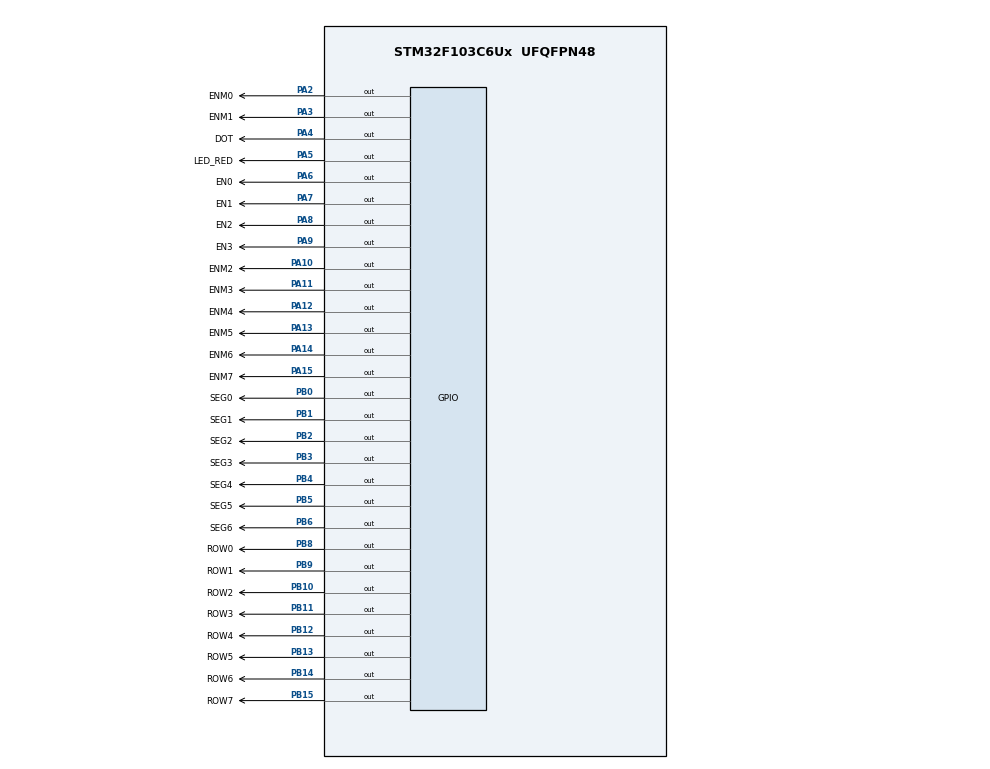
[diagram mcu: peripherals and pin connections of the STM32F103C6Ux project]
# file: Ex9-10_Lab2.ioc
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Mcu.Family=STM32F1
Mcu.Name=STM32F103C6Ux
Mcu.Package=UFQFPN48
NVIC.PriorityGroup=NVIC_PRIORITYGROUP_4
NVIC.TIM2_IRQn=true\:0\:0\:false\:false\:true\:true\:true
PA10.GPIO_Label=ENM2
PA10.Signal=GPIO_Output
PA11.GPIO_Label=ENM3
PA11.Signal=GPIO_Output
PA12.GPIO_Label=ENM4
PA12.Signal=GPIO_Output
PA13.GPIO_Label=ENM5
PA13.Signal=GPIO_Output
PA14.GPIO_Label=ENM6
PA14.Signal=GPIO_Output
PA15.GPIO_Label=ENM7
PA15.Signal=GPIO_Output
PA2.GPIO_Label=ENM0
PA2.Signal=GPIO_Output
PA3.GPIO_Label=ENM1
PA3.Signal=GPIO_Output
PA4.GPIO_Label=DOT
PA4.Signal=GPIO_Output
PA5.GPIO_Label=LED_RED
PA5.Signal=GPIO_Output
PA6.GPIO_Label=EN0
PA6.Signal=GPIO_Output
PA7.GPIO_Label=EN1
PA7.Signal=GPIO_Output
PA8.GPIO_Label=EN2
PA8.Signal=GPIO_Output
PA9.GPIO_Label=EN3
PA9.Signal=GPIO_Output
PB0.GPIO_Label=SEG0
PB0.Signal=GPIO_Output
PB1.GPIO_Label=SEG1
PB1.Signal=GPIO_Output
PB10.GPIO_Label=ROW2
PB10.Signal=GPIO_Output
PB11.GPIO_Label=ROW3
PB11.Signal=GPIO_Output
PB12.GPIO_Label=ROW4
PB12.Signal=GPIO_Output
PB13.GPIO_Label=ROW5
PB13.Signal=GPIO_Output
PB14.GPIO_Label=ROW6
PB14.Signal=GPIO_Output
PB15.GPIO_Label=ROW7
PB15.Signal=GPIO_Output
PB2.GPIO_Label=SEG2
PB2.Signal=GPIO_Output
PB3.GPIO_Label=SEG3
PB3.Signal=GPIO_Output
PB4.GPIO_Label=SEG4
PB4.Signal=GPIO_Output
PB5.GPIO_Label=SEG5
PB5.Signal=GPIO_Output
PB6.GPIO_Label=SEG6
PB6.Signal=GPIO_Output
PB8.GPIO_Label=ROW0
PB8.Signal=GPIO_Output
PB9.GPIO_Label=ROW1
PB9.Signal=GPIO_Output
ProjectManager.HeapSize=0x200
ProjectManager.StackSize=0x400
ProjectManager.TargetToolchain=STM32CubeIDE
RCC.APB1Freq_Value=8000000
RCC.APB2Freq_Value=8000000
TIM2.Period=9
TIM2.Prescaler=7999
VP_SYS_VS_ND.Mode=No_Debug
VP_TIM2_VS_ClockSourceINT.Mode=Internal
board=custom

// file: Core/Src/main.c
/* USER CODE BEGIN Header */
/**
  ******************************************************************************
  * @file           : main.c
  * @brief          : Main program body
  ******************************************************************************
  * @attention
  *
  * <h2><center>&copy; Copyright (c) 2022 STMicroelectronics.
  * All rights reserved.</center></h2>
  *
  * This software component is licensed by ST under BSD 3-Clause license,
  * the "License"; You may not use this file except in compliance with the
  * License. You may obtain a copy of the License at:
  *                        opensource.org/licenses/BSD-3-Clause
  *
  ******************************************************************************
  */
/* USER CODE END Header */
#include "main.h"

/* USER CODE BEGIN Includes */
#include "software_timer.h"
/* USER CODE END Includes */

TIM_HandleTypeDef htim2;

void SystemClock_Config(void);
static void MX_GPIO_Init(void);
static void MX_TIM2_Init(void);

/* USER CODE BEGIN 0 */
void display7SEG(uint16_t Pin1, uint16_t Pin2, uint16_t Pin3, uint16_t Pin4, uint16_t Pin5, uint16_t Pin6, uint16_t Pin7,
				 GPIO_TypeDef* Port1, GPIO_TypeDef* Port2, GPIO_TypeDef* Port3, GPIO_TypeDef* Port4, GPIO_TypeDef* Port5, GPIO_TypeDef* Port6, GPIO_TypeDef* Port7,
				 int num) {
	switch(num) {
	case 0: //Number 0 is 0000001
		HAL_GPIO_WritePin(Port1, Pin1, RESET);
		HAL_GPIO_WritePin(Port2, Pin2, RESET);
		HAL_GPIO_WritePin(Port3, Pin3, RESET);
		HAL_GPIO_WritePin(Port4, Pin4, RESET);
		HAL_GPIO_WritePin(Port5, Pin5, RESET);
		HAL_GPIO_WritePin(Port6, Pin6, RESET);
		HAL_GPIO_WritePin(Port7, Pin7, SET);
		break;

	case 1: //Number 1 is 1001111
		HAL_GPIO_WritePin(Port1, Pin1, SET);
		HAL_GPIO_WritePin(Port2, Pin2, RESET);
		HAL_GPIO_WritePin(Port3, Pin3, RESET);
		HAL_GPIO_WritePin(Port4, Pin4, SET);
		HAL_GPIO_WritePin(Port5, Pin5, SET);
		HAL_GPIO_WritePin(Port6, Pin6, SET);
		HAL_GPIO_WritePin(Port7, Pin7, SET);
		break;

	case 2: //Number 2 is 0010010
		HAL_GPIO_WritePin(Port1, Pin1, RESET);
		HAL_GPIO_WritePin(Port2, Pin2, RESET);
		HAL_GPIO_WritePin(Port3, Pin3, SET);
		HAL_GPIO_WritePin(Port4, Pin4, RESET);
		HAL_GPIO_WritePin(Port5, Pin5, RESET);
		HAL_GPIO_WritePin(Port6, Pin6, SET);
		HAL_GPIO_WritePin(Port7, Pin7, RESET);
		break;

	case 3: //Number 3 is 0000110
		HAL_GPIO_WritePin(Port1, Pin1, RESET);
		HAL_GPIO_WritePin(Port2, Pin2, RESET);
		HAL_GPIO_WritePin(Port3, Pin3, RESET);
		HAL_GPIO_WritePin(Port4, Pin4, RESET);
		HAL_GPIO_WritePin(Port5, Pin5, SET);
		HAL_GPIO_WritePin(Port6, Pin6, SET);
		HAL_GPIO_WritePin(Port7, Pin7, RESET);
		break;

	case 4: //Number 4 is 1001100
		HAL_GPIO_WritePin(Port1, Pin1, SET);
		HAL_GPIO_WritePin(Port2, Pin2, RESET);
		HAL_GPIO_WritePin(Port3, Pin3, RESET);
		HAL_GPIO_WritePin(Port4, Pin4, SET);
		HAL_GPIO_WritePin(Port5, Pin5, SET);
		HAL_GPIO_WritePin(Port6, Pin6, RESET);
		HAL_GPIO_WritePin(Port7, Pin7, RESET);
		break;

	case 5: //Number 5 is 0100100
		HAL_GPIO_WritePin(Port1, Pin1, RESET);
		HAL_GPIO_WritePin(Port2, Pin2, SET);
		HAL_GPIO_WritePin(Port3, Pin3, RESET);
		HAL_GPIO_WritePin(Port4, Pin4, RESET);
		HAL_GPIO_WritePin(Port5, Pin5, SET);
		HAL_GPIO_WritePin(Port6, Pin6, RESET);
		HAL_GPIO_WritePin(Port7, Pin7, RESET);
		break;

	case 6: //Number 6 is 0100000
		HAL_GPIO_WritePin(Port1, Pin1, RESET);
		HAL_GPIO_WritePin(Port2, Pin2, SET);
		HAL_GPIO_WritePin(Port3, Pin3, RESET);
		HAL_GPIO_WritePin(Port4, Pin4, RESET);
		HAL_GPIO_WritePin(Port5, Pin5, RESET);
		HAL_GPIO_WritePin(Port6, Pin6, RESET);
		HAL_GPIO_WritePin(Port7, Pin7, RESET);
		break;

	case 7: //Number 7 is 0001111
		HAL_GPIO_WritePin(Port1, Pin1, RESET);
		HAL_GPIO_WritePin(Port2, Pin2, RESET);
		HAL_GPIO_WritePin(Port3, Pin3, RESET);
		HAL_GPIO_WritePin(Port4, Pin4, SET);
		HAL_GPIO_WritePin(Port5, Pin5, SET);
		HAL_GPIO_WritePin(Port6, Pin6, SET);
		HAL_GPIO_WritePin(Port7, Pin7, SET);
		break;

	case 8: //Number 8 is 0000000
		HAL_GPIO_WritePin(Port1, Pin1, RESET);
		HAL_GPIO_WritePin(Port2, Pin2, RESET);
		HAL_GPIO_WritePin(Port3, Pin3, RESET);
		HAL_GPIO_WritePin(Port4, Pin4, RESET);
		HAL_GPIO_WritePin(Port5, Pin5, RESET);
		HAL_GPIO_WritePin(Port6, Pin6, RESET);
		HAL_GPIO_WritePin(Port7, Pin7, RESET);
		break;

	case 9: //Number 9 is 0000100
		HAL_GPIO_WritePin(Port1, Pin1, RESET);
		HAL_GPIO_WritePin(Port2, Pin2, RESET);
		HAL_GPIO_WritePin(Port3, Pin3, RESET);
		HAL_GPIO_WritePin(Port4, Pin4, RESET);
		HAL_GPIO_WritePin(Port5, Pin5, SET);
		HAL_GPIO_WritePin(Port6, Pin6, RESET);
		HAL_GPIO_WritePin(Port7, Pin7, RESET);
		break;

	default: break;
	}
}

const int MAX_LED = 4;
int index_led = 0;
int led_buffer[4] = {1, 2, 3, 4};

void update7SEG(int index) {
	switch(index) {
	case 0:
		display7SEG(SEG0_Pin, SEG1_Pin, SEG2_Pin, SEG3_Pin, SEG4_Pin, SEG5_Pin, SEG6_Pin,
					SEG0_GPIO_Port, SEG1_GPIO_Port, SEG2_GPIO_Port, SEG3_GPIO_Port, SEG4_GPIO_Port, SEG5_GPIO_Port, SEG6_GPIO_Port,
					led_buffer[index]);

		HAL_GPIO_WritePin(EN0_GPIO_Port, EN0_Pin, RESET);
		HAL_GPIO_WritePin(EN1_GPIO_Port, EN1_Pin, SET);
		HAL_GPIO_WritePin(EN2_GPIO_Port, EN2_Pin, SET);
		HAL_GPIO_WritePin(EN3_GPIO_Port, EN3_Pin, SET);

		break;
	case 1:
		display7SEG(SEG0_Pin, SEG1_Pin, SEG2_Pin, SEG3_Pin, SEG4_Pin, SEG5_Pin, SEG6_Pin,
					SEG0_GPIO_Port, SEG1_GPIO_Port, SEG2_GPIO_Port, SEG3_GPIO_Port, SEG4_GPIO_Port, SEG5_GPIO_Port, SEG6_GPIO_Port,
					led_buffer[index]);

		HAL_GPIO_WritePin(EN0_GPIO_Port, EN0_Pin, SET);
		HAL_GPIO_WritePin(EN1_GPIO_Port, EN1_Pin, RESET);
		HAL_GPIO_WritePin(EN2_GPIO_Port, EN2_Pin, SET);
		HAL_GPIO_WritePin(EN3_GPIO_Port, EN3_Pin, SET);

		break;
	case 2:
		display7SEG(SEG0_Pin, SEG1_Pin, SEG2_Pin, SEG3_Pin, SEG4_Pin, SEG5_Pin, SEG6_Pin,
					SEG0_GPIO_Port, SEG1_GPIO_Port, SEG2_GPIO_Port, SEG3_GPIO_Port, SEG4_GPIO_Port, SEG5_GPIO_Port, SEG6_GPIO_Port,
					led_buffer[index]);

		HAL_GPIO_WritePin(EN0_GPIO_Port, EN0_Pin, SET);
		HAL_GPIO_WritePin(EN1_GPIO_Port, EN1_Pin, SET);
		HAL_GPIO_WritePin(EN2_GPIO_Port, EN2_Pin, RESET);
		HAL_GPIO_WritePin(EN3_GPIO_Port, EN3_Pin, SET);

		break;
	case 3:
		display7SEG(SEG0_Pin, SEG1_Pin, SEG2_Pin, SEG3_Pin, SEG4_Pin, SEG5_Pin, SEG6_Pin,
					SEG0_GPIO_Port, SEG1_GPIO_Port, SEG2_GPIO_Port, SEG3_GPIO_Port, SEG4_GPIO_Port, SEG5_GPIO_Port, SEG6_GPIO_Port,
					led_buffer[index]);

		HAL_GPIO_WritePin(EN0_GPIO_Port, EN0_Pin, SET);
		HAL_GPIO_WritePin(EN1_GPIO_Port, EN1_Pin, SET);
		HAL_GPIO_WritePin(EN2_GPIO_Port, EN2_Pin, SET);
		HAL_GPIO_WritePin(EN3_GPIO_Port, EN3_Pin, RESET);

		break;
	default:
		break;
	}
}

int hour = 15, minute = 8, second = 50;
void updateClockBuffer() {
	led_buffer[0] = hour / 10;
	led_buffer[1] = hour % 10;

	led_buffer[2] = minute / 10;
	led_buffer[3] = minute % 10;
}

const int MAX_LED_MATRIX = 8;
int index_led_matrix = 0;
uint8_t matrix_buffer[8] = {0x01, 0x02, 0x03, 0x04, 0x05, 0x06, 0x07, 0x08};

void displayLEDMatrix(uint8_t value) {
	switch(value) {
	case 0x00:
		HAL_GPIO_WritePin(ROW0_GPIO_Port, ROW0_Pin, SET);
		HAL_GPIO_WritePin(ROW1_GPIO_Port, ROW1_Pin, SET);
		HAL_GPIO_WritePin(ROW2_GPIO_Port, ROW2_Pin, SET);
		HAL_GPIO_WritePin(ROW3_GPIO_Port, ROW3_Pin, SET);
		HAL_GPIO_WritePin(ROW4_GPIO_Port, ROW4_Pin, SET);
		HAL_GPIO_WritePin(ROW5_GPIO_Port, ROW5_Pin, SET);
		HAL_GPIO_WritePin(ROW6_GPIO_Port, ROW6_Pin, SET);
		HAL_GPIO_WritePin(ROW7_GPIO_Port, ROW7_Pin, SET);
		break;
	case 0xc0:
		HAL_GPIO_WritePin(ROW0_GPIO_Port, ROW0_Pin, SET);
		HAL_GPIO_WritePin(ROW1_GPIO_Port, ROW1_Pin, SET);
		HAL_GPIO_WritePin(ROW2_GPIO_Port, ROW2_Pin, RESET);
		HAL_GPIO_WritePin(ROW3_GPIO_Port, ROW3_Pin, RESET);
		HAL_GPIO_WritePin(ROW4_GPIO_Port, ROW4_Pin, RESET);
		HAL_GPIO_WritePin(ROW5_GPIO_Port, ROW5_Pin, RESET);
		HAL_GPIO_WritePin(ROW6_GPIO_Port, ROW6_Pin, RESET);
		HAL_GPIO_WritePin(ROW7_GPIO_Port, ROW7_Pin, RESET);
		break;
	case 0x80:
		HAL_GPIO_WritePin(ROW0_GPIO_Port, ROW0_Pin, SET);
		HAL_GPIO_WritePin(ROW1_GPIO_Port, ROW1_Pin, RESET);
		HAL_GPIO_WritePin(ROW2_GPIO_Port, ROW2_Pin, RESET);
		HAL_GPIO_WritePin(ROW3_GPIO_Port, ROW3_Pin, RESET);
		HAL_GPIO_WritePin(ROW4_GPIO_Port, ROW4_Pin, RESET);
		HAL_GPIO_WritePin(ROW5_GPIO_Port, ROW5_Pin, RESET);
		HAL_GPIO_WritePin(ROW6_GPIO_Port, ROW6_Pin, RESET);
		HAL_GPIO_WritePin(ROW7_GPIO_Port, ROW7_Pin, RESET);
		break;
	case 0x33:
		HAL_GPIO_WritePin(ROW0_GPIO_Port, ROW0_Pin, RESET);
		HAL_GPIO_WritePin(ROW1_GPIO_Port, ROW1_Pin, RESET);
		HAL_GPIO_WritePin(ROW2_GPIO_Port, ROW2_Pin, SET);
		HAL_GPIO_WritePin(ROW3_GPIO_Port, ROW3_Pin, SET);
		HAL_GPIO_WritePin(ROW4_GPIO_Port, ROW4_Pin, RESET);
		HAL_GPIO_WritePin(ROW5_GPIO_Port, ROW5_Pin, RESET);
		HAL_GPIO_WritePin(ROW6_GPIO_Port, ROW6_Pin, SET);
		HAL_GPIO_WritePin(ROW7_GPIO_Port, ROW7_Pin, SET);
		break;
	default:
		HAL_GPIO_WritePin(ROW0_GPIO_Port, ROW0_Pin, SET);
		HAL_GPIO_WritePin(ROW1_GPIO_Port, ROW1_Pin, SET);
		HAL_GPIO_WritePin(ROW2_GPIO_Port, ROW2_Pin, SET);
		HAL_GPIO_WritePin(ROW3_GPIO_Port, ROW3_Pin, SET);
		HAL_GPIO_WritePin(ROW4_GPIO_Port, ROW4_Pin, SET);
		HAL_GPIO_WritePin(ROW5_GPIO_Port, ROW5_Pin, SET);
		HAL_GPIO_WritePin(ROW6_GPIO_Port, ROW6_Pin, SET);
		HAL_GPIO_WritePin(ROW7_GPIO_Port, ROW7_Pin, SET);
		break;
	}
}

void updateLEDMatrix(int index) {
	switch(index) {
		case 0:
			HAL_GPIO_WritePin(ENM0_GPIO_Port, ENM0_Pin, RESET);
			HAL_GPIO_WritePin(ENM1_GPIO_Port, ENM1_Pin, SET);
			HAL_GPIO_WritePin(ENM2_GPIO_Port, ENM2_Pin, SET);
			HAL_GPIO_WritePin(ENM3_GPIO_Port, ENM3_Pin, SET);
			HAL_GPIO_WritePin(ENM4_GPIO_Port, ENM4_Pin, SET);
			HAL_GPIO_WritePin(ENM5_GPIO_Port, ENM5_Pin, SET);
			HAL_GPIO_WritePin(ENM6_GPIO_Port, ENM6_Pin, SET);
			HAL_GPIO_WritePin(ENM7_GPIO_Port, ENM7_Pin, SET);
			break;
		case 1:
			HAL_GPIO_WritePin(ENM0_GPIO_Port, ENM0_Pin, SET);
			HAL_GPIO_WritePin(ENM1_GPIO_Port, ENM1_Pin, RESET);
			HAL_GPIO_WritePin(ENM2_GPIO_Port, ENM2_Pin, SET);
			HAL_GPIO_WritePin(ENM3_GPIO_Port, ENM3_Pin, SET);
			HAL_GPIO_WritePin(ENM4_GPIO_Port, ENM4_Pin, SET);
			HAL_GPIO_WritePin(ENM5_GPIO_Port, ENM5_Pin, SET);
			HAL_GPIO_WritePin(ENM6_GPIO_Port, ENM6_Pin, SET);
			HAL_GPIO_WritePin(ENM7_GPIO_Port, ENM7_Pin, SET);
			break;
		case 2:
			HAL_GPIO_WritePin(ENM0_GPIO_Port, ENM0_Pin, SET);
			HAL_GPIO_WritePin(ENM1_GPIO_Port, ENM1_Pin, SET);
			HAL_GPIO_WritePin(ENM2_GPIO_Port, ENM2_Pin, RESET);
			HAL_GPIO_WritePin(ENM3_GPIO_Port, ENM3_Pin, SET);
			HAL_GPIO_WritePin(ENM4_GPIO_Port, ENM4_Pin, SET);
			HAL_GPIO_WritePin(ENM5_GPIO_Port, ENM5_Pin, SET);
			HAL_GPIO_WritePin(ENM6_GPIO_Port, ENM6_Pin, SET);
			HAL_GPIO_WritePin(ENM7_GPIO_Port, ENM7_Pin, SET);
			break;
		case 3:
			HAL_GPIO_WritePin(ENM0_GPIO_Port, ENM0_Pin, SET);
			HAL_GPIO_WritePin(ENM1_GPIO_Port, ENM1_Pin, SET);
			HAL_GPIO_WritePin(ENM2_GPIO_Port, ENM2_Pin, SET);
			HAL_GPIO_WritePin(ENM3_GPIO_Port, ENM3_Pin, RESET);
			HAL_GPIO_WritePin(ENM4_GPIO_Port, ENM4_Pin, SET);
			HAL_GPIO_WritePin(ENM5_GPIO_Port, ENM5_Pin, SET);
			HAL_GPIO_WritePin(ENM6_GPIO_Port, ENM6_Pin, SET);
			HAL_GPIO_WritePin(ENM7_GPIO_Port, ENM7_Pin, SET);
			break;
		case 4:
			HAL_GPIO_WritePin(ENM0_GPIO_Port, ENM0_Pin, SET);
			HAL_GPIO_WritePin(ENM1_GPIO_Port, ENM1_Pin, SET);
			HAL_GPIO_WritePin(ENM2_GPIO_Port, ENM2_Pin, SET);
			HAL_GPIO_WritePin(ENM3_GPIO_Port, ENM3_Pin, SET);
			HAL_GPIO_WritePin(ENM4_GPIO_Port, ENM4_Pin, RESET);
			HAL_GPIO_WritePin(ENM5_GPIO_Port, ENM5_Pin, SET);
			HAL_GPIO_WritePin(ENM6_GPIO_Port, ENM6_Pin, SET);
			HAL_GPIO_WritePin(ENM7_GPIO_Port, ENM7_Pin, SET);
			break;
		case 5:
			HAL_GPIO_WritePin(ENM0_GPIO_Port, ENM0_Pin, SET);
			HAL_GPIO_WritePin(ENM1_GPIO_Port, ENM1_Pin, SET);
			HAL_GPIO_WritePin(ENM2_GPIO_Port, ENM2_Pin, SET);
			HAL_GPIO_WritePin(ENM3_GPIO_Port, ENM3_Pin, SET);
			HAL_GPIO_WritePin(ENM4_GPIO_Port, ENM4_Pin, SET);
			HAL_GPIO_WritePin(ENM5_GPIO_Port, ENM5_Pin, RESET);
			HAL_GPIO_WritePin(ENM6_GPIO_Port, ENM6_Pin, SET);
			HAL_GPIO_WritePin(ENM7_GPIO_Port, ENM7_Pin, SET);
			break;
		case 6:
			HAL_GPIO_WritePin(ENM0_GPIO_Port, ENM0_Pin, SET);
			HAL_GPIO_WritePin(ENM1_GPIO_Port, ENM1_Pin, SET);
			HAL_GPIO_WritePin(ENM2_GPIO_Port, ENM2_Pin, SET);
			HAL_GPIO_WritePin(ENM3_GPIO_Port, ENM3_Pin, SET);
			HAL_GPIO_WritePin(ENM4_GPIO_Port, ENM4_Pin, SET);
			HAL_GPIO_WritePin(ENM5_GPIO_Port, ENM5_Pin, SET);
			HAL_GPIO_WritePin(ENM6_GPIO_Port, ENM6_Pin, RESET);
			HAL_GPIO_WritePin(ENM7_GPIO_Port, ENM7_Pin, SET);
			break;
		case 7:
			HAL_GPIO_WritePin(ENM0_GPIO_Port, ENM0_Pin, SET);
			HAL_GPIO_WritePin(ENM1_GPIO_Port, ENM1_Pin, SET);
			HAL_GPIO_WritePin(ENM2_GPIO_Port, ENM2_Pin, SET);
			HAL_GPIO_WritePin(ENM3_GPIO_Port, ENM3_Pin, SET);
			HAL_GPIO_WritePin(ENM4_GPIO_Port, ENM4_Pin, SET);
			HAL_GPIO_WritePin(ENM5_GPIO_Port, ENM5_Pin, SET);
			HAL_GPIO_WritePin(ENM6_GPIO_Port, ENM6_Pin, SET);
			HAL_GPIO_WritePin(ENM7_GPIO_Port, ENM7_Pin, RESET);
			break;
		default:
			HAL_GPIO_WritePin(ENM0_GPIO_Port, ENM0_Pin, SET);
			HAL_GPIO_WritePin(ENM1_GPIO_Port, ENM1_Pin, SET);
			HAL_GPIO_WritePin(ENM2_GPIO_Port, ENM2_Pin, SET);
			HAL_GPIO_WritePin(ENM3_GPIO_Port, ENM3_Pin, SET);
			HAL_GPIO_WritePin(ENM4_GPIO_Port, ENM4_Pin, SET);
			HAL_GPIO_WritePin(ENM5_GPIO_Port, ENM5_Pin, SET);
			HAL_GPIO_WritePin(ENM6_GPIO_Port, ENM6_Pin, SET);
			HAL_GPIO_WritePin(ENM7_GPIO_Port, ENM7_Pin, SET);
			break;
	}
	displayLEDMatrix(matrix_buffer[index]);
}

void shiftLeft() {
	uint8_t first = matrix_buffer[0];
	for (int i = 0; i < 7; ++i) {
		matrix_buffer[i] = matrix_buffer[i+1];
	}
	matrix_buffer[7] = first;
}
/* USER CODE END 0 */

int main(void)
{

  /* MCU Configuration--------------------------------------------------------*/

  /* Reset of all peripherals, Initializes the Flash interface and the Systick. */
  HAL_Init();

  /* Configure the system clock */
  SystemClock_Config();

  /* Initialize all configured peripherals */
  MX_GPIO_Init();
  MX_TIM2_Init();
  /* USER CODE BEGIN 2 */
  HAL_TIM_Base_Start_IT(&htim2);
  /* USER CODE END 2 */

  /* Infinite loop */
  /* USER CODE BEGIN WHILE */

  /*
  * timer0_flag and setTimer0 is using to set timer for LED RED, switch every second
  * timer1_flag and setTimer1 is using to set timer for LED 7SEG, switch every 250ms
  * timer2_flag and setTimer2 is using to set timer for the colon, display every 500ms
  */

  //setTimer for first time timer_flag change to 1
  setTimer0(100); //timer for LED-RED, turn on every second
  setTimer1(100); //timer for 4 LED 7SEG, switch every 250ms
  setTimer2(100); //timer for colon, display every 500ms
  setTimer3(100);
  setTimer4(100);

  /*
   * A:
   * 0 0 0 1 1 0 0 0
   * 0 0 1 1 1 1 0 0
   * 0 1 1 0 0 1 1 0
   * 0 1 1 0 0 1 1 0
   * 0 1 1 1 1 1 1 0
   * 0 1 1 1 1 1 1 0
   * 0 1 1 0 0 1 1 0
   * 0 1 1 0 0 1 1 0
   */

  matrix_buffer[0] = 0x00;
  matrix_buffer[1] = 0xc0;
  matrix_buffer[2] = 0x80;
  matrix_buffer[3] = 0x33;
  matrix_buffer[4] = 0x33;
  matrix_buffer[5] = 0x80;
  matrix_buffer[6] = 0xc0;
  matrix_buffer[7] = 0x00;

  while (1)
  {
    /* USER CODE END WHILE */
	  if ( timer0_flag == 1) {
		  HAL_GPIO_TogglePin ( LED_RED_GPIO_Port, LED_RED_Pin ) ;
		  setTimer0 (1000) ;
		  second++;
		  if (second >= 60) {
			  second = 0;
			  minute++;
		  }

		  if (minute >= 60) {
			  minute = 0;
			  hour++;
		  }

		  if (hour >= 24) {
			  hour = 0;
		  }
		  updateClockBuffer();
	  }

	  if ( timer1_flag == 1) {
		  update7SEG(index_led++);
		  if (index_led >= 4) index_led = 0;
		  setTimer1(250);
	  }

	  if ( timer2_flag == 1) {
		  HAL_GPIO_TogglePin ( DOT_GPIO_Port, DOT_Pin ) ;
		  setTimer2 (500) ;
	  }

	  if ( timer3_flag == 1) {
		  updateLEDMatrix(index_led_matrix++);
		  if (index_led_matrix >= 8) index_led_matrix = 0;
		  setTimer3(50);
	  }

	  if ( timer4_flag == 1) {
		  shiftLeft();
		  setTimer4(8*50);
	  }

  }
}

void SystemClock_Config(void)
{
  RCC_OscInitTypeDef RCC_OscInitStruct = {0};
  RCC_ClkInitTypeDef RCC_ClkInitStruct = {0};

  /** Initializes the RCC Oscillators according to the specified parameters
  * in the RCC_OscInitTypeDef structure.
  */
  RCC_OscInitStruct.OscillatorType = RCC_OSCILLATORTYPE_HSI;
  RCC_OscInitStruct.HSIState = RCC_HSI_ON;
  RCC_OscInitStruct.HSICalibrationValue = RCC_HSICALIBRATION_DEFAULT;
  RCC_OscInitStruct.PLL.PLLState = RCC_PLL_NONE;
  if (HAL_RCC_OscConfig(&RCC_OscInitStruct) != HAL_OK)
  {
    Error_Handler();
  }
  /** Initializes the CPU, AHB and APB buses clocks
  */
  RCC_ClkInitStruct.ClockType = RCC_CLOCKTYPE_HCLK|RCC_CLOCKTYPE_SYSCLK
                              |RCC_CLOCKTYPE_PCLK1|RCC_CLOCKTYPE_PCLK2;
  RCC_ClkInitStruct.SYSCLKSource = RCC_SYSCLKSOURCE_HSI;
  RCC_ClkInitStruct.AHBCLKDivider = RCC_SYSCLK_DIV1;
  RCC_ClkInitStruct.APB1CLKDivider = RCC_HCLK_DIV1;
  RCC_ClkInitStruct.APB2CLKDivider = RCC_HCLK_DIV1;

  if (HAL_RCC_ClockConfig(&RCC_ClkInitStruct, FLASH_LATENCY_0) != HAL_OK)
  {
    Error_Handler();
  }
}

static void MX_TIM2_Init(void)
{

  TIM_ClockConfigTypeDef sClockSourceConfig = {0};
  TIM_MasterConfigTypeDef sMasterConfig = {0};

  htim2.Instance = TIM2;
  htim2.Init.Prescaler = 7999;
  htim2.Init.CounterMode = TIM_COUNTERMODE_UP;
  htim2.Init.Period = 9;
  htim2.Init.ClockDivision = TIM_CLOCKDIVISION_DIV1;
  htim2.Init.AutoReloadPreload = TIM_AUTORELOAD_PRELOAD_DISABLE;
  if (HAL_TIM_Base_Init(&htim2) != HAL_OK)
  {
    Error_Handler();
  }
  sClockSourceConfig.ClockSource = TIM_CLOCKSOURCE_INTERNAL;
  if (HAL_TIM_ConfigClockSource(&htim2, &sClockSourceConfig) != HAL_OK)
  {
    Error_Handler();
  }
  sMasterConfig.MasterOutputTrigger = TIM_TRGO_RESET;
  sMasterConfig.MasterSlaveMode = TIM_MASTERSLAVEMODE_DISABLE;
  if (HAL_TIMEx_MasterConfigSynchronization(&htim2, &sMasterConfig) != HAL_OK)
  {
    Error_Handler();
  }

}

static void MX_GPIO_Init(void)
{
  GPIO_InitTypeDef GPIO_InitStruct = {0};

  /* GPIO Ports Clock Enable */
  __HAL_RCC_GPIOA_CLK_ENABLE();
  __HAL_RCC_GPIOB_CLK_ENABLE();

  /*Configure GPIO pin Output Level */
  HAL_GPIO_WritePin(GPIOA, ENM0_Pin|ENM1_Pin|DOT_Pin|LED_RED_Pin
                          |EN0_Pin|EN1_Pin|EN2_Pin|EN3_Pin
                          |ENM2_Pin|ENM3_Pin|ENM4_Pin|ENM5_Pin
                          |ENM6_Pin|ENM7_Pin, GPIO_PIN_RESET);

  /*Configure GPIO pin Output Level */
  HAL_GPIO_WritePin(GPIOB, SEG0_Pin|SEG1_Pin|SEG2_Pin|ROW2_Pin
                          |ROW3_Pin|ROW4_Pin|ROW5_Pin|ROW6_Pin
                          |ROW7_Pin|SEG3_Pin|SEG4_Pin|SEG5_Pin
                          |SEG6_Pin|ROW0_Pin|ROW1_Pin, GPIO_PIN_RESET);

  /*Configure GPIO pins : ENM0_Pin ENM1_Pin DOT_Pin LED_RED_Pin
                           EN0_Pin EN1_Pin EN2_Pin EN3_Pin
                           ENM2_Pin ENM3_Pin ENM4_Pin ENM5_Pin
                           ENM6_Pin ENM7_Pin */
  GPIO_InitStruct.Pin = ENM0_Pin|ENM1_Pin|DOT_Pin|LED_RED_Pin
                          |EN0_Pin|EN1_Pin|EN2_Pin|EN3_Pin
                          |ENM2_Pin|ENM3_Pin|ENM4_Pin|ENM5_Pin
                          |ENM6_Pin|ENM7_Pin;
  GPIO_InitStruct.Mode = GPIO_MODE_OUTPUT_PP;
  GPIO_InitStruct.Pull = GPIO_NOPULL;
  GPIO_InitStruct.Speed = GPIO_SPEED_FREQ_LOW;
  HAL_GPIO_Init(GPIOA, &GPIO_InitStruct);

  /*Configure GPIO pins : SEG0_Pin SEG1_Pin SEG2_Pin ROW2_Pin
                           ROW3_Pin ROW4_Pin ROW5_Pin ROW6_Pin
                           ROW7_Pin SEG3_Pin SEG4_Pin SEG5_Pin
                           SEG6_Pin ROW0_Pin ROW1_Pin */
  GPIO_InitStruct.Pin = SEG0_Pin|SEG1_Pin|SEG2_Pin|ROW2_Pin
                          |ROW3_Pin|ROW4_Pin|ROW5_Pin|ROW6_Pin
                          |ROW7_Pin|SEG3_Pin|SEG4_Pin|SEG5_Pin
                          |SEG6_Pin|ROW0_Pin|ROW1_Pin;
  GPIO_InitStruct.Mode = GPIO_MODE_OUTPUT_PP;
  GPIO_InitStruct.Pull = GPIO_NOPULL;
  GPIO_InitStruct.Speed = GPIO_SPEED_FREQ_LOW;
  HAL_GPIO_Init(GPIOB, &GPIO_InitStruct);

}

/* USER CODE BEGIN 4 */
void HAL_TIM_PeriodElapsedCallback(TIM_HandleTypeDef *htim) {
	timer_run();
}
/* USER CODE END 4 */

void Error_Handler(void)
{
  __disable_irq();
  while (1)
  {
  }
}

/************************ (C) COPYRIGHT STMicroelectronics *****END OF FILE****/
